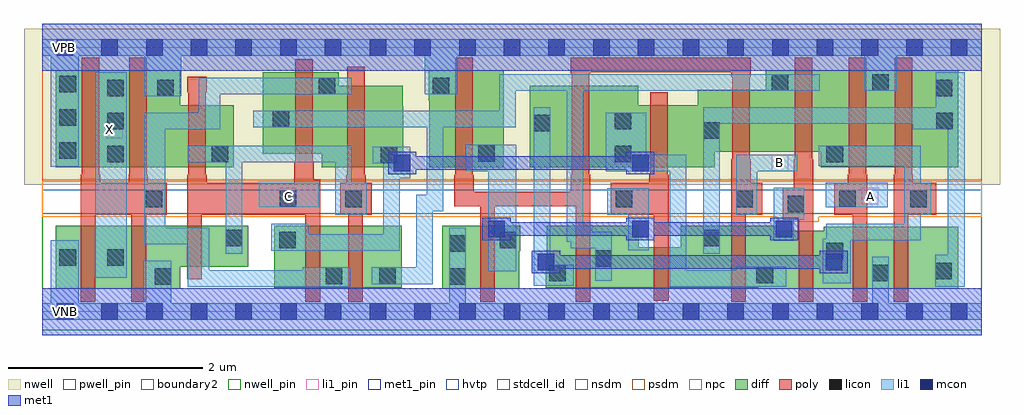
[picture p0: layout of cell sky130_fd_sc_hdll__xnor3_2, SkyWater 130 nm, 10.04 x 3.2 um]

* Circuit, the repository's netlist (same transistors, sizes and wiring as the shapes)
* Copyright 2020 The SkyWater PDK Authors
*
* Licensed under the Apache License, Version 2.0 (the "License");
* you may not use this file except in compliance with the License.
* You may obtain a copy of the License at
*
*     https://www.apache.org/licenses/LICENSE-2.0
*
* Unless required by applicable law or agreed to in writing, software
* distributed under the License is distributed on an "AS IS" BASIS,
* WITHOUT WARRANTIES OR CONDITIONS OF ANY KIND, either express or implied.
* See the License for the specific language governing permissions and
* limitations under the License.
*
* SPDX-License-Identifier: Apache-2.0

.SUBCKT sky130_fd_sc_hdll__xnor3_2 A B C VGND VNB VPB VPWR X
*.PININFO A:I B:I C:I VGND:I VNB:I VPB:I VPWR:I X:O
MMIN3 X net57 VGND VNB sky130_fd_pr__nfet_01v8 m=2 w=0.65U l=0.15U mult=1 sa=0.265
+ sb=0.265 sd=0.28 area=0.063 perim=1.14
MI29 Ab Bb mid2 VNB sky130_fd_pr__nfet_01v8 m=1 w=0.6U l=0.15U mult=1 sa=0.265
+ sb=0.265 sd=0.28 area=0.063 perim=1.14
MI25 Abb Bb mid1 VNB sky130_fd_pr__nfet_01v8 m=1 w=0.42U l=0.15U mult=1 sa=0.265
+ sb=0.265 sd=0.28 area=0.063 perim=1.14
MI17 Bb B VGND VNB sky130_fd_pr__nfet_01v8 m=1 w=0.65U l=0.15U mult=1 sa=0.265
+ sb=0.265 sd=0.28 area=0.063 perim=1.14
MI649 mid1 Cb net57 VNB sky130_fd_pr__nfet_01v8 m=1 w=0.64U l=0.15U mult=1 sa=0.265
+ sb=0.265 sd=0.28 area=0.063 perim=1.14
MI44 Ab A VGND VNB sky130_fd_pr__nfet_01v8 m=1 w=0.64U l=0.15U mult=1 sa=0.265
+ sb=0.265 sd=0.28 area=0.063 perim=1.14
MI34 Cb C VGND VNB sky130_fd_pr__nfet_01v8 m=1 w=0.42U l=0.15U mult=1 sa=0.265
+ sb=0.265 sd=0.28 area=0.063 perim=1.14
MI2 mid2 C net57 VNB sky130_fd_pr__nfet_01v8 m=1 w=0.64U l=0.15U mult=1 sa=0.265
+ sb=0.265 sd=0.28 area=0.063 perim=1.14
MI46 Abb Ab VGND VNB sky130_fd_pr__nfet_01v8 m=1 w=0.64U l=0.15U mult=1 sa=0.265
+ sb=0.265 sd=0.28 area=0.063 perim=1.14
MI24 Ab B mid1 VNB sky130_fd_pr__nfet_01v8 m=1 w=0.64U l=0.15U mult=1 sa=0.265
+ sb=0.265 sd=0.28 area=0.063 perim=1.14
MI28 Abb B mid2 VNB sky130_fd_pr__nfet_01v8 m=1 w=0.64U l=0.15U mult=1 sa=0.265
+ sb=0.265 sd=0.28 area=0.063 perim=1.14
MMIP3 X net57 VPWR VPB sky130_fd_pr__pfet_01v8_hvt m=2 w=1.0U l=0.18U mult=1 sa=0.265
+ sb=0.265 sd=0.28 area=0.063 perim=1.14
MI650 mid1 C net57 VPB sky130_fd_pr__pfet_01v8_hvt m=1 w=0.84U l=0.18U mult=1 sa=0.265
+ sb=0.265 sd=0.28 area=0.063 perim=1.14
MI27 mid2 B Ab VPB sky130_fd_pr__pfet_01v8_hvt m=1 w=0.84U l=0.18U mult=1 sa=0.265
+ sb=0.265 sd=0.28 area=0.063 perim=1.14
MI47 Abb Ab VPWR VPB sky130_fd_pr__pfet_01v8_hvt m=1 w=1.0U l=0.18U mult=1 sa=0.265
+ sb=0.265 sd=0.28 area=0.063 perim=1.14
MI23 mid1 B Abb VPB sky130_fd_pr__pfet_01v8_hvt m=1 w=0.64U l=0.18U mult=1 sa=0.265
+ sb=0.265 sd=0.28 area=0.063 perim=1.14
MI26 mid2 Bb Abb VPB sky130_fd_pr__pfet_01v8_hvt m=1 w=0.64U l=0.18U mult=1 sa=0.265
+ sb=0.265 sd=0.28 area=0.063 perim=1.14
MI7 mid2 Cb net57 VPB sky130_fd_pr__pfet_01v8_hvt m=1 w=0.84U l=0.18U mult=1 sa=0.265
+ sb=0.265 sd=0.28 area=0.063 perim=1.14
MI33 Cb C VPWR VPB sky130_fd_pr__pfet_01v8_hvt m=1 w=0.64U l=0.18U mult=1 sa=0.265
+ sb=0.265 sd=0.28 area=0.063 perim=1.14
MI45 Ab A VPWR VPB sky130_fd_pr__pfet_01v8_hvt m=1 w=1.0U l=0.18U mult=1 sa=0.265
+ sb=0.265 sd=0.28 area=0.063 perim=1.14
MI16 Bb B VPWR VPB sky130_fd_pr__pfet_01v8_hvt m=1 w=1.0U l=0.18U mult=1 sa=0.265
+ sb=0.265 sd=0.28 area=0.063 perim=1.14
MI19 mid1 Bb Ab VPB sky130_fd_pr__pfet_01v8_hvt m=1 w=0.84U l=0.18U mult=1 sa=0.265
+ sb=0.265 sd=0.28 area=0.063 perim=1.14
.ENDS sky130_fd_sc_hdll__xnor3_2

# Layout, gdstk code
import gdstk
lib = gdstk.Library(unit=1e-6, precision=1e-09)
def R(c, l, rs):  # rectangles x0, y0, x1, y1
    for r in rs: c.add(gdstk.rectangle(r[:2], r[2:], *l))
def A(c, l, x, y, w, h, nx, ny, dx, dy):  # array of equal rectangles
    R(c, l, [(x+i*dx, y+j*dy, x+i*dx+w, y+j*dy+h) for i in range(nx) for j in range(ny)])
def P(c, l, *ps):  # polygons
    for p in ps: c.add(gdstk.Polygon(p, *l))
nwell_pin = (64, 16)
nwell = (64, 20)
diff = (65, 20)
poly = (66, 20)
licon = (66, 44)
li1_pin = (67, 16)
li1 = (67, 20)
mcon = (67, 44)
met1_pin = (68, 16)
met1 = (68, 20)
hvtp = (78, 44)
stdcell_id = (81, 4)
nsdm = (93, 44)
psdm = (94, 20)
npc = (95, 20)
pwell_pin = (122, 16)
boundary2 = (236, 0)

sky130_fd_sc_hdll__xnor3 = lib.new_cell('sky130_fd_sc_hdll__xnor3_2')
R(sky130_fd_sc_hdll__xnor3, nwell_pin, [(0.145,2.635,0.315,2.805)])
R(sky130_fd_sc_hdll__xnor3, nwell, [(-0.19,1.305,9.85,2.91)])
R(sky130_fd_sc_hdll__xnor3, diff, [(2.385,0.245,3.695,0.885)])
P(sky130_fd_sc_hdll__xnor3, diff, [(1.97,2.125),(1.415,2.125),(1.415,2.485),(0.135,2.485),(0.135,1.485),(1.97,1.485)],
  [(9.42,0.875),(8.035,0.875),(8.035,0.835),(7.535,0.835),(7.535,0.885),(6.565,0.885),(6.565,0.665),(6.135,0.665),(6.135,0.885),(5.185,0.885),(5.185,0.52),(5.175,0.52),(5.175,0.245),(7.37,0.245),(7.37,0.235),(9.42,0.235)],
  [(2.115,0.885),(0.135,0.885),(0.135,0.235),(1.415,0.235),(1.415,0.465),(2.115,0.465)],
  [(3.71,2.115),(3.705,2.115),(3.705,2.325),(3.05,2.325),(3.05,2.465),(2.265,2.465),(2.265,1.625),(2.875,1.625),(2.875,1.485),(3.71,1.485)],
  [(4.745,2.485),(3.975,2.485),(3.975,2.175),(3.98,2.175),(3.98,1.485),(4.745,1.485)],
  [(4.915,0.885),(4.115,0.885),(4.115,0.235),(4.905,0.235),(4.905,0.62),(4.915,0.62)],
  [(9.42,2.485),(7.44,2.485),(7.44,2.285),(6.74,2.285),(6.74,2.125),(6.13,2.125),(6.13,2.325),(5.015,2.325),(5.015,1.485),(6.915,1.485),(6.915,1.645),(8.005,1.645),(8.005,1.485),(9.42,1.485)])
P(sky130_fd_sc_hdll__xnor3, poly, [(1.28,1.325),(1.085,1.325),(1.085,1.41),(1.075,1.41),(1.075,2.615),(0.895,2.615),(0.895,1.41),(0.885,1.41),(0.885,1.325),(0.595,1.325),(0.595,1.41),(0.585,1.41),(0.585,2.615),(0.405,2.615),(0.405,1.41),(0.395,1.41),(0.395,0.105),(0.545,0.105),(0.545,0.995),(0.915,0.995),(0.915,0.105),(1.065,0.105),(1.065,0.995),(1.28,0.995)],
  [(2.855,1.355),(2.79,1.355),(2.79,1.55),(2.78,1.55),(2.78,2.595),(2.6,2.595),(2.6,1.55),(2.59,1.55),(2.59,1.325),(1.69,1.325),(1.69,1.41),(1.68,1.41),(1.68,2.255),(1.69,2.255),(1.69,2.415),(1.49,2.415),(1.49,2.255),(1.5,2.255),(1.5,1.41),(1.49,1.41),(1.49,0.335),(1.64,0.335),(1.64,0.995),(2.705,0.995),(2.705,0.105),(2.855,0.105)],
  [(3.385,1.325),(3.325,1.325),(3.325,1.41),(3.315,1.41),(3.315,2.52),(3.135,2.52),(3.135,1.41),(3.125,1.41),(3.125,1.325),(3.065,1.325),(3.065,0.995),(3.145,0.995),(3.145,0.105),(3.295,0.105),(3.295,0.995),(3.385,0.995)],
  [(6.44,1.41),(6.43,1.41),(6.43,2.255),(6.25,2.255),(6.25,1.41),(6.24,1.41),(6.24,1.325),(5.845,1.325),(5.845,0.995),(6.29,0.995),(6.29,0.115),(6.44,0.115)],
  [(7.405,1.325),(7.285,1.325),(7.285,1.57),(7.275,1.57),(7.275,2.415),(7.285,2.415),(7.285,2.615),(5.435,2.615),(5.435,2.455),(5.445,2.455),(5.445,1.41),(5.435,1.41),(5.435,1.235),(4.435,1.235),(4.435,1.41),(4.425,1.41),(4.425,2.615),(4.245,2.615),(4.245,1.41),(4.235,1.41),(4.235,1.085),(4.505,1.085),(4.505,0.105),(4.655,0.105),(4.655,1.085),(5.485,1.085),(5.485,0.105),(5.635,0.105),(5.635,1.41),(5.625,1.41),(5.625,2.455),(5.635,2.455),(5.635,2.465),(7.085,2.465),(7.085,2.415),(7.095,2.415),(7.095,1.57),(7.085,1.57),(7.085,0.105),(7.235,0.105),(7.235,0.995),(7.405,0.995)],
  [(7.93,1.57),(7.92,1.57),(7.92,2.615),(7.74,2.615),(7.74,1.57),(7.73,1.57),(7.73,1.275),(7.615,1.275),(7.615,0.945),(7.78,0.945),(7.78,0.105),(7.93,0.105)],
  [(8.485,1.41),(8.475,1.41),(8.475,2.615),(8.295,2.615),(8.295,1.41),(8.285,1.41),(8.285,1.325),(8.145,1.325),(8.145,0.995),(8.335,0.995),(8.335,0.105),(8.485,0.105)],
  [(9.195,1.325),(8.955,1.325),(8.955,1.41),(8.945,1.41),(8.945,2.615),(8.765,2.615),(8.765,1.41),(8.755,1.41),(8.755,0.105),(8.905,0.105),(8.905,0.995),(9.195,0.995)])
A(sky130_fd_sc_hdll__xnor3, licon, 0.665, 1.535, 0.17, 0.17, 1, 3, 0, 0.34)
A(sky130_fd_sc_hdll__xnor3, licon, 0.175, 1.575, 0.17, 0.17, 1, 3, 0, 0.34)
R(sky130_fd_sc_hdll__xnor3, licon, [(1.155,0.275,1.325,0.445), (4.185,0.275,4.355,0.445), (2.915,0.285,3.085,0.455), (3.465,0.285,3.635,0.455), (7.345,0.295,7.515,0.465), (5.215,0.315,5.385,0.485), (8.535,0.315,8.705,0.485), (9.185,0.335,9.355,0.505), (5.685,0.46,5.855,0.63), (0.175,0.475,0.345,0.645), (0.665,0.475,0.835,0.645), (8.065,0.54,8.235,0.71), (4.185,0.615,4.355,0.785), (2.435,0.655,2.605,0.825), (4.705,0.655,4.875,0.825), (1.885,0.675,2.055,0.845), (6.795,0.675,6.965,0.845), (7.665,1.025,7.835,1.195), (1.06,1.075,1.23,1.245), (2.44,1.075,2.61,1.245), (3.115,1.075,3.285,1.245), (5.895,1.075,6.065,1.245), (7.135,1.075,7.305,1.245), (8.195,1.075,8.365,1.245), (8.925,1.075,9.095,1.245), (3.48,1.525,3.65,1.695), (1.74,1.535,1.91,1.705), (5.885,1.535,6.055,1.705), (8.065,1.535,8.235,1.705), (4.485,1.545,4.655,1.715), (6.795,1.78,6.965,1.95), (5.055,1.855,5.225,2.025), (5.885,1.875,6.055,2.045), (9.195,1.875,9.365,2.045), (2.37,1.895,2.54,2.065), (1.18,2.215,1.35,2.385), (9.19,2.215,9.36,2.385), (2.84,2.235,3.01,2.405), (4.015,2.235,4.185,2.405), (7.5,2.275,7.67,2.445), (8.535,2.275,8.705,2.445)])
R(sky130_fd_sc_hdll__xnor3, li1_pin, [(2.44,1.105,2.61,1.275), (8.43,1.105,8.6,1.275), (7.5,1.445,7.67,1.615), (0.655,1.785,0.825,1.955)])
R(sky130_fd_sc_hdll__xnor3, li1, [(0.545,0.35,0.865,2.465), (2.225,1.075,2.84,1.325), (8.055,1.075,8.695,1.325)])
P(sky130_fd_sc_hdll__xnor3, li1, [(3.18,2.405),(1.61,2.405),(1.61,2.045),(1.045,2.045),(1.045,0.695),(1.495,0.695),(1.495,0.255),(3.165,0.255),(3.165,0.455),(2.68,0.455),(2.68,0.425),(1.715,0.425),(1.715,0.865),(1.265,0.865),(1.265,1.875),(1.83,1.875),(1.83,2.235),(3.18,2.235)],
  [(3.335,1.325),(3.18,1.325),(3.18,1.705),(1.495,1.705),(1.495,1.535),(1.885,1.535),(1.885,0.595),(2.055,0.595),(2.055,1.535),(3.01,1.535),(3.01,0.995),(3.335,0.995)],
  [(9.66,0.085),(8.705,0.085),(8.705,0.565),(8.535,0.565),(8.535,0.085),(4.355,0.085),(4.355,0.865),(4.185,0.865),(4.185,0.085),(1.325,0.085),(1.325,0.525),(1.035,0.525),(1.035,0.085),(0.375,0.085),(0.375,0.735),(0.085,0.735),(0.085,0.085),(0,0.085),(0,-0.085),(9.66,-0.085)],
  [(3.785,1.695),(3.4,1.695),(3.4,1.525),(3.505,1.525),(3.505,0.795),(2.735,0.795),(2.735,0.905),(2.355,0.905),(2.355,0.625),(3.675,0.625),(3.675,1.375),(3.785,1.375)],
  [(9.485,2.465),(9.19,2.465),(9.19,2.105),(6.795,2.105),(6.795,0.595),(6.965,0.595),(6.965,1.935),(8.95,1.935),(8.95,1.875),(9.315,1.875),(9.315,0.585),(9.185,0.585),(9.185,0.255),(9.485,0.255)],
  [(9.145,1.325),(9.035,1.325),(9.035,1.705),(7.985,1.705),(7.985,1.495),(8.865,1.495),(8.865,0.905),(8.065,0.905),(8.065,0.75),(8.025,0.75),(8.025,0.295),(8.315,0.295),(8.315,0.735),(9.035,0.735),(9.035,0.995),(9.145,0.995)],
  [(4.875,1.715),(4.355,1.715),(4.355,1.445),(4.585,1.445),(4.585,0.415),(4.875,0.415)],
  [(5.465,0.485),(5.265,0.485),(5.265,0.595),(5.225,0.595),(5.225,2.105),(5.055,2.105),(5.055,0.265),(5.465,0.265)],
  [(9.66,2.805),(0,2.805),(0,2.635),(0.085,2.635),(0.085,1.49),(0.375,1.49),(0.375,2.635),(1.045,2.635),(1.045,2.215),(1.43,2.215),(1.43,2.635),(3.935,2.635),(3.935,2.235),(4.265,2.235),(4.265,2.635),(8.455,2.635),(8.455,2.275),(8.79,2.275),(8.79,2.635),(9.66,2.635)],
  [(6.235,1.27),(5.81,1.27),(5.81,0.995),(6.025,0.995),(6.025,0.63),(6.235,0.63)],
  [(7.65,0.465),(7.135,0.465),(7.135,0.425),(6.625,0.425),(6.625,1.615),(6.21,1.615),(6.21,2.045),(5.795,2.045),(5.795,1.445),(6.455,1.445),(6.455,0.255),(7.65,0.255)],
  [(7.765,1.615),(7.135,1.615),(7.135,0.995),(7.355,0.995),(7.355,1.445),(7.765,1.445)],
  [(7.835,1.275),(7.525,1.275),(7.525,0.73),(7.73,0.73),(7.73,0.945),(7.835,0.945)],
  [(7.995,2.445),(4.7,2.445),(4.7,2.065),(2.17,2.065),(2.17,1.895),(3.955,1.895),(3.955,1.205),(3.845,1.205),(3.845,0.455),(3.385,0.455),(3.385,0.285),(4.015,0.285),(4.015,1.035),(4.125,1.035),(4.125,1.895),(4.87,1.895),(4.87,2.275),(5.395,2.275),(5.395,0.72),(5.435,0.72),(5.435,0.655),(5.685,0.655),(5.685,0.32),(5.855,0.32),(5.855,0.825),(5.655,0.825),(5.655,0.89),(5.565,0.89),(5.565,2.275),(7.995,2.275)])
A(sky130_fd_sc_hdll__xnor3, mcon, 0.145, -0.085, 0.17, 0.17, 21, 2, 0.46, 2.72)
A(sky130_fd_sc_hdll__xnor3, mcon, 4.585, 0.765, 0.17, 0.17, 3, 1, 1.48, 0)
R(sky130_fd_sc_hdll__xnor3, mcon, [(5.095,0.425,5.265,0.595), (8.055,0.425,8.225,0.595), (3.615,1.445,3.785,1.615), (6.065,1.445,6.235,1.615)])
R(sky130_fd_sc_hdll__xnor3, met1_pin, [(0.15,-0.085,0.32,0.085), (0.145,2.635,0.315,2.805)])
R(sky130_fd_sc_hdll__xnor3, met1, [(0,-0.24,9.66,0.24), (0,2.48,9.66,2.96)])
P(sky130_fd_sc_hdll__xnor3, met1, [(6.295,1.645),(6.005,1.645),(6.005,1.6),(3.845,1.6),(3.845,1.645),(3.555,1.645),(3.555,1.415),(3.845,1.415),(3.845,1.46),(6.005,1.46),(6.005,1.415),(6.295,1.415)],
  [(7.775,0.965),(7.485,0.965),(7.485,0.92),(6.295,0.92),(6.295,0.965),(6.005,0.965),(6.005,0.92),(4.815,0.92),(4.815,0.965),(4.525,0.965),(4.525,0.735),(4.815,0.735),(4.815,0.78),(6.005,0.78),(6.005,0.735),(6.295,0.735),(6.295,0.78),(7.485,0.78),(7.485,0.735),(7.775,0.735)],
  [(8.285,0.625),(7.995,0.625),(7.995,0.58),(5.325,0.58),(5.325,0.625),(5.035,0.625),(5.035,0.395),(5.325,0.395),(5.325,0.44),(7.995,0.44),(7.995,0.395),(8.285,0.395)])
R(sky130_fd_sc_hdll__xnor3, hvtp, [(0,1.25,9.66,2.72)])
R(sky130_fd_sc_hdll__xnor3, stdcell_id, [(0,0,9.66,2.72)])
R(sky130_fd_sc_hdll__xnor3, nsdm, [(0,-0.19,9.66,1.015)])
R(sky130_fd_sc_hdll__xnor3, psdm, [(0,1.355,9.66,2.91)])
P(sky130_fd_sc_hdll__xnor3, npc, [(9.66,1.345),(0,1.345),(0,0.975),(7.565,0.975),(7.565,0.925),(7.985,0.925),(7.985,0.975),(9.66,0.975)])
R(sky130_fd_sc_hdll__xnor3, pwell_pin, [(0.15,-0.085,0.32,0.085)])
R(sky130_fd_sc_hdll__xnor3, boundary2, [(0,0,9.66,2.72)])
sky130_fd_sc_hdll__xnor3.add(gdstk.Label('X', (0.69,1.87), layer=67, texttype=5))
sky130_fd_sc_hdll__xnor3.add(gdstk.Label('B', (7.58,1.53), layer=67, texttype=5))
sky130_fd_sc_hdll__xnor3.add(gdstk.Label('C', (2.53,1.19), layer=67, texttype=5))
sky130_fd_sc_hdll__xnor3.add(gdstk.Label('A', (8.515,1.19), layer=67, texttype=5))
sky130_fd_sc_hdll__xnor3.add(gdstk.Label('VNB', (0.235,0), layer=64, texttype=59))
sky130_fd_sc_hdll__xnor3.add(gdstk.Label('VPB', (0.23,2.72), layer=64, texttype=5))
sky130_fd_sc_hdll__xnor3.add(gdstk.Label('VGND', (0.23,0), layer=68, texttype=5))
sky130_fd_sc_hdll__xnor3.add(gdstk.Label('VPWR', (0.23,2.72), layer=68, texttype=5))
sky130_fd_sc_hdll__xnor3.add(gdstk.Label('xnor3_2', (0,0), layer=83, texttype=44))
sky130_fd_sc_hdll__xnor3.add(gdstk.Label('HHNEC', (0,2.72), layer=83, texttype=44))

lib.write_gds('sky130_fd_sc_hdll__xnor3_2.gds')
